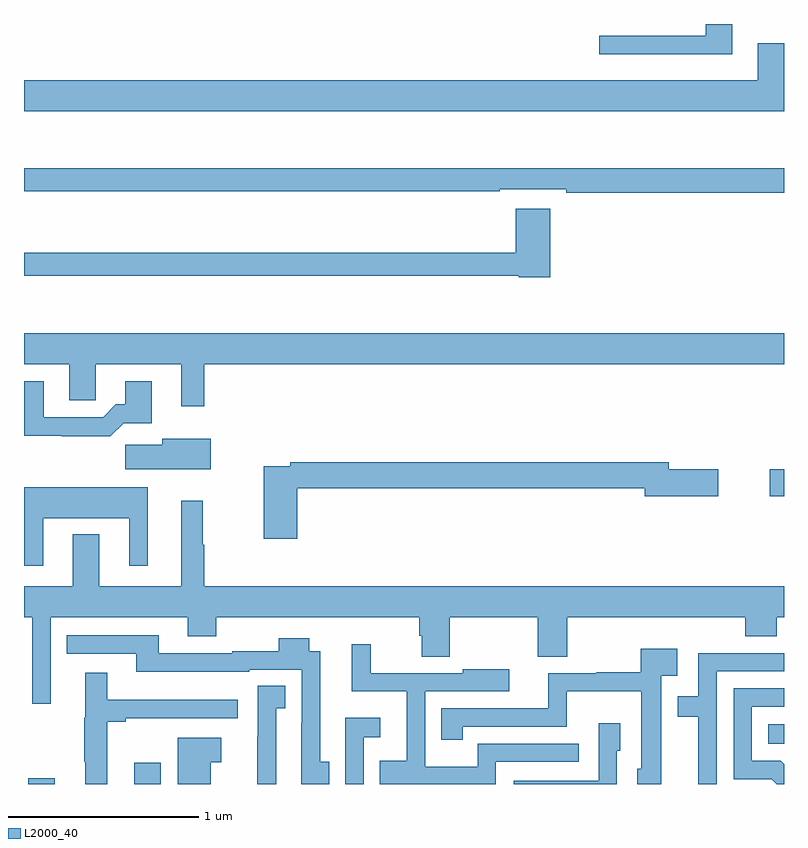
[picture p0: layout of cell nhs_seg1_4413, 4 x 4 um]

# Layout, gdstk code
import gdstk
lib = gdstk.Library(unit=1e-6, precision=1e-09)
def R(c, l, rs):  # rectangles x0, y0, x1, y1
    for r in rs: c.add(gdstk.rectangle(r[:2], r[2:], *l))
def P(c, l, *ps):  # polygons
    for p in ps: c.add(gdstk.Polygon(p, *l))
L2000_40 = (2000, 40)

nhs_seg1_4413 = lib.new_cell('nhs_seg1_4413')
R(nhs_seg1_4413, L2000_40, [(351.023,540.199,351.163,540.229), (351.581,540.199,351.721,540.31), (354.916,540.41,355,540.514), (354.924,541.714,355,541.856)])
P(nhs_seg1_4413, L2000_40, [(354.727,544.199),(354.587,544.199),(354.587,544.137),(354.027,544.137),(354.027,544.04),(354.727,544.04)],
  [(355,544.099),(354.863,544.099),(354.863,543.904),(351,543.904),(351,543.74),(355,543.74)],
  [(355,543.439),(351,543.439),(351,543.318),(353.504,543.318),(353.504,543.33),(353.854,543.33),(353.854,543.31),(355,543.31)],
  [(353.771,543.226),(353.588,543.226),(353.588,542.995),(351,542.995),(351,542.874),(353.604,542.874),(353.604,542.866),(353.771,542.866)],
  [(351.949,542.408),(355,542.408),(355,542.572),(351,542.572),(351,542.408),(351.239,542.408),(351.239,542.218),(351.378,542.218),(351.378,542.408),(351.827,542.408),(351.827,542.187),(351.949,542.187)],
  [(351.524,542.099),(351.673,542.099),(351.673,542.32),(351.533,542.32),(351.533,542.197),(351.484,542.197),(351.417,542.13),(351.103,542.13),(351.103,542.32),(351,542.32),(351,542.032),(351.199,542.032),(351.199,542.03),(351.455,542.03)],
  [(351.982,542.017),(351.728,542.017),(351.728,541.985),(351.534,541.985),(351.534,541.856),(351.982,541.856)],
  [(352.439,541.756),(354.266,541.756),(354.266,541.714),(354.655,541.714),(354.655,541.856),(354.394,541.856),(354.394,541.892),(352.402,541.892),(352.402,541.872),(352.261,541.872),(352.261,541.491),(352.439,541.491)],
  [(351.1,541.598),(351.554,541.598),(351.554,541.347),(351.652,541.347),(351.652,541.762),(351,541.762),(351,541.598),(351.002,541.598),(351.002,541.347),(351.1,541.347)],
  [(351.827,541.24),(351.397,541.24),(351.397,541.513),(351.257,541.513),(351.257,541.24),(351,541.24),(351,541.076),(351.044,541.076),(351.044,540.621),(351.141,540.621),(351.141,541.076),(351.863,541.076),(351.863,540.977),(352.011,540.977),(352.011,541.076),(353.081,541.076),(353.081,540.978),(353.093,540.978),(353.093,540.868),(353.241,540.868),(353.241,541.076),(353.704,541.076),(353.704,540.868),(353.859,540.868),(353.859,541.076),(354.797,541.076),(354.797,540.977),(354.962,540.977),(354.962,541.076),(355,541.076),(355,541.24),(351.949,541.24),(351.949,541.457),(351.941,541.457),(351.941,541.69),(351.827,541.69)],
  [(352.607,540.315),(352.558,540.315),(352.558,540.897),(352.501,540.897),(352.501,540.967),(352.342,540.967),(352.342,540.898),(352.095,540.898),(352.095,540.888),(351.709,540.888),(351.709,540.981),(351.226,540.981),(351.226,540.885),(351.59,540.885),(351.59,540.791),(352.185,540.791),(352.185,540.801),(352.461,540.801),(352.461,540.518),(352.46,540.518),(352.46,540.199),(352.607,540.199)],
  [(353.484,540.315),(353.92,540.315),(353.92,540.411),(353.491,540.411),(353.491,540.41),(353.388,540.41),(353.388,540.289),(353.112,540.289),(353.112,540.687),(353.554,540.687),(353.554,540.802),(353.309,540.802),(353.309,540.783),(352.826,540.783),(352.826,540.934),(352.724,540.934),(352.724,540.686),(353.015,540.686),(353.015,540.322),(352.873,540.322),(352.873,540.199),(353.484,540.199)],
  [(354.355,540.674),(354.354,540.674),(354.354,540.77),(354.439,540.77),(354.439,540.91),(354.246,540.91),(354.246,540.788),(354.012,540.788),(354.012,540.783),(353.759,540.783),(353.759,540.597),(353.197,540.597),(353.197,540.432),(353.31,540.432),(353.31,540.501),(353.857,540.501),(353.857,540.686),(354.248,540.686),(354.248,540.279),(354.227,540.279),(354.227,540.199),(354.355,540.199)],
  [(354.645,540.792),(355,540.792),(355,540.888),(354.549,540.888),(354.549,540.66),(354.44,540.66),(354.44,540.552),(354.548,540.552),(354.548,540.199),(354.645,540.199)],
  [(351.439,540.526),(351.535,540.526),(351.535,540.544),(351.713,540.544),(351.713,540.546),(352.126,540.546),(352.126,540.643),(351.439,540.643),(351.439,540.784),(351.323,540.784),(351.323,540.549),(351.316,540.549),(351.316,540.316),(351.323,540.316),(351.323,540.199),(351.439,540.199)],
  [(352.327,540.598),(352.376,540.598),(352.376,540.716),(352.23,540.716),(352.23,540.449),(352.228,540.449),(352.228,540.199),(352.327,540.199)],
  [(355,540.303),(354.982,540.321),(354.831,540.321),(354.831,540.606),(355,540.606),(355,540.702),(354.735,540.702),(354.735,540.225),(354.936,540.225),(354.962,540.199),(355,540.199)],
  [(352.788,540.446),(352.876,540.446),(352.876,540.547),(352.692,540.547),(352.692,540.199),(352.788,540.199)],
  [(354.12,540.375),(354.139,540.375),(354.139,540.52),(354.024,540.52),(354.024,540.216),(353.577,540.216),(353.577,540.199),(354.12,540.199)],
  [(351.982,540.313),(352.039,540.313),(352.039,540.442),(351.809,540.442),(351.809,540.199),(351.982,540.199)])

lib.write_gds('nhs_seg1_4413.gds')
